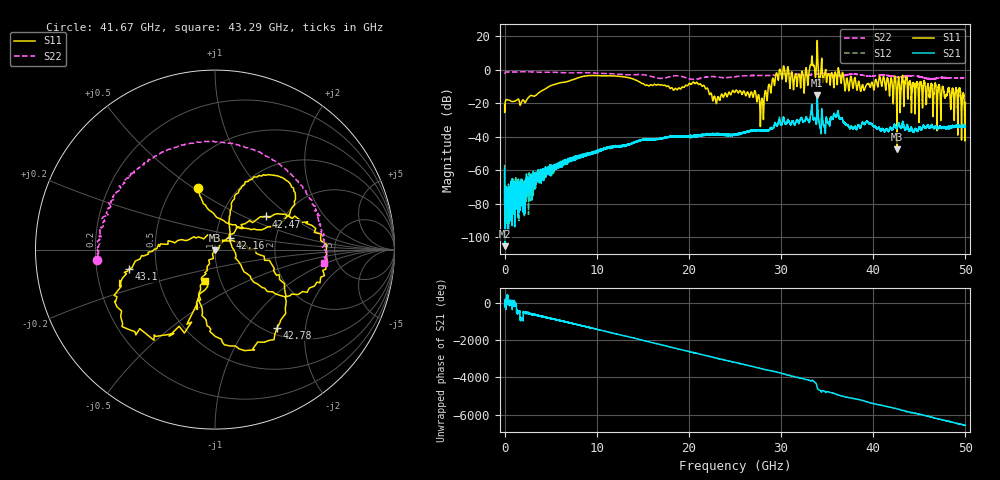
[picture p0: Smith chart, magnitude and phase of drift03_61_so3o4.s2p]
!Created with skrf (http://scikit-rf.org).
# Hz S RI R 50.0
!freq ReS11 ImS11 ReS21 ImS21 ReS12 ImS12 ReS22 ImS22
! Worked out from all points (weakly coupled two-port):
!   10001 points, 300 kHz to 50 GHz, reference 50 ohm
!   highest |S21| = -15.35 dB at 33.93 GHz (marker M1); lowest = -105.2 dB at 70.3 MHz (marker M2)
!   lowest |S11| = -47.4 dB at 42.58 GHz (marker M3), VSWR 1.01, Z = 49.9 - j0.408 ohm
!   |S11| at or under -10 dB: start of sweep to 4.849 GHz; 21.69 GHz to 28.62 GHz (6.932 GHz wide, 27.6 % of centre); 47.19 GHz to end of sweep (the widest 3 of 44)
!   |S22| runs from -5.9 to -1.3 dB; largest |S21 - S12| = 0.02
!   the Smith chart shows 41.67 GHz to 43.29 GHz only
!   S11 on the Smith chart (normalised r, x): 41.67 GHz: 0.66, +0.52; 42.16 GHz: 1.17, +0.16; 42.47 GHz: 1.62, +0.68; 42.78 GHz: 1.12, -1.41; 43.1 GHz: 0.34, -0.10; 43.29 GHz: 0.84, -0.30
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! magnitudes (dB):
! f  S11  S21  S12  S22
! 300 kHz  -21.0  -59.3  -56.7  -2.0
! 70.3 MHz  -19.5  -105.2  -82.1  -1.6
! 255.3 MHz  -17.9  -73.4  -75.3  -1.4
! 1.895 GHz  -18.6  -69.8  -78.6  -1.3
! 8.335 GHz  -4.3  -52.2  -51.0  -1.9
! 16.67 GHz  -8.8  -41.3  -41.2  -5.2
! 21.01 GHz  -8.7  -39.7  -39.7  -5.6
! 22.81 GHz  -16.1  -38.2  -38.7  -4.2
! 25 GHz  -13.4  -38.9  -38.6  -4.3
! 27.92 GHz  -17.1  -36.7  -36.4  -3.5
! 29.69 GHz  -6.4  -31.8  -31.7  -3.1
! 32.32 GHz  -1.5  -30.4  -30.7  -3.3
! 33.34 GHz  7.9  -20.5  -20.8  -2.9
! 33.93 GHz  17.3  -15.3  -15.6  -2.5
! 41.67 GHz  -9.0  -36.9  -36.6  -3.6
! 42.16 GHz  -19.6  -35.2  -35.0  -4.1
! 42.47 GHz  -9.4  -34.7  -34.7  -4.4
! 42.58 GHz  -47.4  -34.9  -34.6  -4.5
! 42.78 GHz  -5.1  -32.1  -32.0  -4.5
! 43.1 GHz  -6.2  -34.2  -33.8  -4.4
! 43.29 GHz  -14.8  -32.7  -33.1  -4.3
! 50 GHz  -19.9  -33.8  -33.6  -5.0
